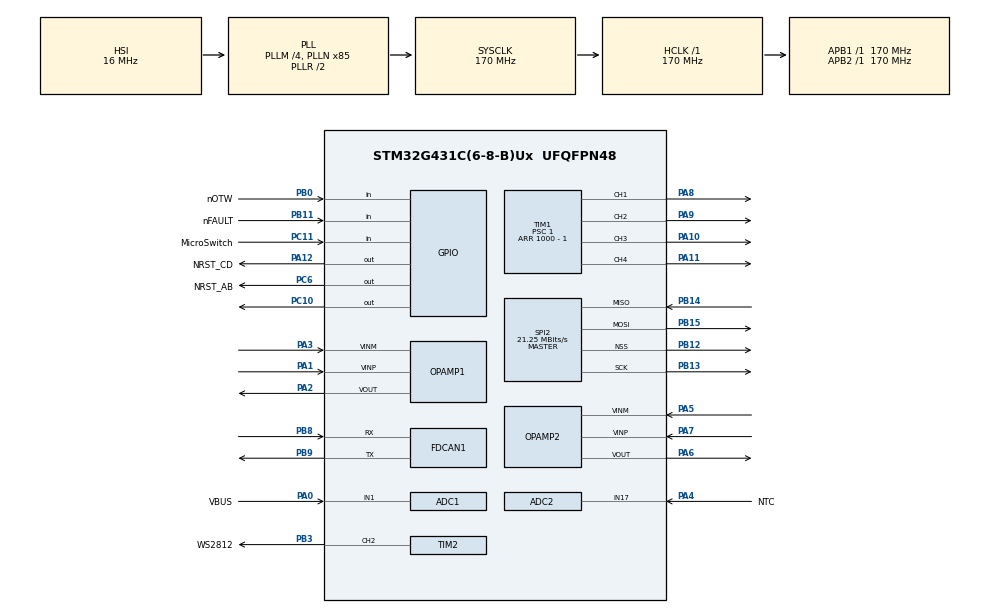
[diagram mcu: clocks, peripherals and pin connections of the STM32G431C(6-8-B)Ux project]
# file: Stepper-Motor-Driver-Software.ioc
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ADC1.Channel-0\#ChannelRegularConversion=ADC_CHANNEL_3
ADC1.Channel-4\#ChannelRegularConversion=ADC_CHANNEL_1
ADC1.DMAAccessModeView=ENABLE
ADC1.DMAContinuousRequests=ENABLE
ADC1.EOCSelection=ADC_EOC_SEQ_CONV
ADC1.ExternalTrigConv=ADC_EXTERNALTRIG_T1_TRGO
ADC1.Mode=ADC_DUALMODE_REGSIMULT
ADC1.NbrOfConversion=2
ADC1.NbrOfConversionFlag=1
ADC1.OffsetNumber-0\#ChannelRegularConversion=ADC_OFFSET_NONE
ADC1.OffsetNumber-4\#ChannelRegularConversion=ADC_OFFSET_NONE
ADC1.Overrun=ADC_OVR_DATA_OVERWRITTEN
ADC1.Rank-0\#ChannelRegularConversion=1
ADC1.Rank-4\#ChannelRegularConversion=2
ADC1.SamplingTime-0\#ChannelRegularConversion=ADC_SAMPLETIME_6CYCLES_5
ADC1.SamplingTime-4\#ChannelRegularConversion=ADC_SAMPLETIME_6CYCLES_5
ADC1.master=1
ADC2.Channel-0\#ChannelRegularConversion=ADC_CHANNEL_3
ADC2.Channel-2\#ChannelRegularConversion=ADC_CHANNEL_17
ADC2.DMAAccessModeView=ENABLE
ADC2.DMAContinuousRequests=DISABLE
ADC2.EOCSelection=ADC_EOC_SEQ_CONV
ADC2.Mode=ADC_DUALMODE_REGSIMULT
ADC2.NbrOfConversion=2
ADC2.NbrOfConversionFlag=1
ADC2.OffsetNumber-0\#ChannelRegularConversion=ADC_OFFSET_NONE
ADC2.OffsetNumber-2\#ChannelRegularConversion=ADC_OFFSET_NONE
ADC2.Overrun=ADC_OVR_DATA_OVERWRITTEN
ADC2.Rank-0\#ChannelRegularConversion=1
ADC2.Rank-2\#ChannelRegularConversion=2
ADC2.SamplingTime-0\#ChannelRegularConversion=ADC_SAMPLETIME_6CYCLES_5
ADC2.SamplingTime-2\#ChannelRegularConversion=ADC_SAMPLETIME_6CYCLES_5
Dma.ADC1.1.Direction=DMA_PERIPH_TO_MEMORY
Dma.ADC1.1.EventEnable=DISABLE
Dma.ADC1.1.Instance=DMA1_Channel2
Dma.ADC1.1.MemDataAlignment=DMA_MDATAALIGN_WORD
Dma.ADC1.1.MemInc=DMA_MINC_ENABLE
Dma.ADC1.1.Mode=DMA_CIRCULAR
Dma.ADC1.1.PeriphDataAlignment=DMA_PDATAALIGN_WORD
Dma.ADC1.1.PeriphInc=DMA_PINC_DISABLE
Dma.ADC1.1.Polarity=HAL_DMAMUX_REQ_GEN_RISING
Dma.ADC1.1.Priority=DMA_PRIORITY_VERY_HIGH
Dma.ADC1.1.RequestNumber=1
Dma.ADC1.1.SignalID=NONE
Dma.ADC1.1.SyncEnable=DISABLE
Dma.ADC1.1.SyncPolarity=HAL_DMAMUX_SYNC_NO_EVENT
Dma.ADC1.1.SyncRequestNumber=1
Dma.ADC1.1.SyncSignalID=NONE
Dma.Request0=TIM2_CH2
Dma.Request1=ADC1
Dma.TIM2_CH2.0.Direction=DMA_MEMORY_TO_PERIPH
Dma.TIM2_CH2.0.EventEnable=DISABLE
Dma.TIM2_CH2.0.Instance=DMA1_Channel1
Dma.TIM2_CH2.0.MemDataAlignment=DMA_MDATAALIGN_WORD
Dma.TIM2_CH2.0.MemInc=DMA_MINC_ENABLE
Dma.TIM2_CH2.0.Mode=DMA_NORMAL
Dma.TIM2_CH2.0.PeriphDataAlignment=DMA_PDATAALIGN_WORD
Dma.TIM2_CH2.0.PeriphInc=DMA_PINC_DISABLE
Dma.TIM2_CH2.0.Polarity=HAL_DMAMUX_REQ_GEN_RISING
Dma.TIM2_CH2.0.Priority=DMA_PRIORITY_LOW
Dma.TIM2_CH2.0.RequestNumber=1
Dma.TIM2_CH2.0.SignalID=NONE
Dma.TIM2_CH2.0.SyncEnable=DISABLE
Dma.TIM2_CH2.0.SyncPolarity=HAL_DMAMUX_SYNC_NO_EVENT
Dma.TIM2_CH2.0.SyncRequestNumber=1
Dma.TIM2_CH2.0.SyncSignalID=NONE
FDCAN1.AutoRetransmission=ENABLE
FDCAN1.CalculateBaudRateNominal=1000000
FDCAN1.CalculateTimeBitNominal=1000
FDCAN1.CalculateTimeQuantumNominal=100.0
FDCAN1.DataPrescaler=17
FDCAN1.DataTimeSeg2=6
FDCAN1.NominalPrescaler=17
FDCAN1.NominalTimeSeg1=6
FDCAN1.NominalTimeSeg2=3
FDCAN1.StdFiltersNbr=1
Mcu.Family=STM32G4
Mcu.Name=STM32G431C(6-8-B)Ux
Mcu.Package=UFQFPN48
NVIC.ADC1_2_IRQn=true\:0\:0\:false\:false\:true\:true\:true\:true
NVIC.DMA1_Channel1_IRQn=true\:0\:0\:false\:false\:true\:false\:true\:true
NVIC.DMA1_Channel2_IRQn=true\:0\:0\:false\:false\:true\:false\:true\:true
NVIC.FDCAN1_IT0_IRQn=true\:0\:0\:false\:false\:true\:true\:true\:true
NVIC.PriorityGroup=NVIC_PRIORITYGROUP_4
NVIC.SPI2_IRQn=true\:0\:0\:false\:false\:true\:true\:true\:true
NVIC.TIM1_UP_TIM16_IRQn=true\:0\:0\:false\:false\:true\:true\:true\:true
NVIC.TIM6_DAC_IRQn=true\:0\:0\:false\:false\:true\:true\:true\:true
PA0.GPIO_Label=VBUS
PA0.Mode=IN1-Single-Ended
PA0.Signal=ADC1_IN1
PA1.Mode=Standalone
PA1.Signal=OPAMP1_VINP
PA10.GPIO_Speed=GPIO_SPEED_FREQ_VERY_HIGH
PA10.Signal=S_TIM1_CH3
PA11.GPIO_Speed=GPIO_SPEED_FREQ_VERY_HIGH
PA11.Signal=S_TIM1_CH4
PA12.GPIO_Label=NRST_CD
PA12.Signal=GPIO_Output
PA13.Mode=Serial_Wire
PA13.Signal=SYS_JTMS-SWDIO
PA14.Mode=Serial_Wire
PA14.Signal=SYS_JTCK-SWCLK
PA2.Signal=SharedAnalog_PA2
PA3.Mode=Standalone
PA3.Signal=OPAMP1_VINM
PA4.GPIO_Label=NTC
PA4.Mode=IN17-Single-Ended
PA4.Signal=ADC2_IN17
PA5.Mode=Standalone
PA5.Signal=OPAMP2_VINM
PA6.Signal=SharedAnalog_PA6
PA7.Mode=Standalone
PA7.Signal=OPAMP2_VINP
PA8.GPIO_Speed=GPIO_SPEED_FREQ_VERY_HIGH
PA8.Signal=S_TIM1_CH1
PA9.GPIO_Speed=GPIO_SPEED_FREQ_VERY_HIGH
PA9.Signal=S_TIM1_CH2
PB0.GPIO_Label=nOTW
PB0.Signal=GPIO_Input
PB11.GPIO_Label=nFAULT
PB11.Signal=GPIO_Input
PB12.Mode=NSS_Signal_Hard_Output
PB12.Signal=SPI2_NSS
PB13.Mode=Full_Duplex_Master
PB13.Signal=SPI2_SCK
PB14.Mode=Full_Duplex_Master
PB14.Signal=SPI2_MISO
PB15.Mode=Full_Duplex_Master
PB15.Signal=SPI2_MOSI
PB3.GPIO_Label=WS2812
PB3.Signal=S_TIM2_CH2
PB8-BOOT0.Mode=FDCAN_Activate
PB8-BOOT0.Signal=FDCAN1_RX
PB9.Mode=FDCAN_Activate
PB9.Signal=FDCAN1_TX
PC10.GPIO_Speed=GPIO_SPEED_FREQ_VERY_HIGH
PC10.Signal=GPIO_Output
PC11.GPIO_Label=MicroSwitch
PC11.Signal=GPIO_Input
PC6.GPIO_Label=NRST_AB
PC6.Signal=GPIO_Output
PF0-OSC_IN.Mode=HSE-External-Oscillator
PF0-OSC_IN.Signal=RCC_OSC_IN
PF1-OSC_OUT.Mode=HSE-External-Oscillator
PF1-OSC_OUT.Signal=RCC_OSC_OUT
ProjectManager.HeapSize=0x200
ProjectManager.StackSize=0x400
ProjectManager.TargetToolchain=Makefile
RCC.ADC12Freq_Value=170000000
RCC.AHBFreq_Value=170000000
RCC.APB1Freq_Value=170000000
RCC.APB1TimFreq_Value=170000000
RCC.APB2Freq_Value=170000000
RCC.APB2TimFreq_Value=170000000
RCC.CortexFreq_Value=170000000
RCC.EXTERNAL_CLOCK_VALUE=12288000
RCC.HCLKFreq_Value=170000000
RCC.HSE_VALUE=8000000
RCC.HSI48_VALUE=48000000
RCC.HSI_VALUE=16000000
RCC.LSE_VALUE=32768
RCC.PLLM=RCC_PLLM_DIV4
RCC.PLLN=85
RCC.SYSCLKFreq_VALUE=170000000
RCC.SYSCLKSource=RCC_SYSCLKSOURCE_PLLCLK
RCC.USBFreq_Value=170000000
RCC.VCOOutputFreq_Value=340000000
SH.S_TIM1_CH1.0=TIM1_CH1,PWM Generation1 CH1
SH.S_TIM1_CH2.0=TIM1_CH2,PWM Generation2 CH2
SH.S_TIM1_CH3.0=TIM1_CH3,PWM Generation3 CH3
SH.S_TIM1_CH4.0=TIM1_CH4,PWM Generation4 CH4
SH.S_TIM2_CH2.0=TIM2_CH2,PWM Generation2 CH2
SH.SharedAnalog_PA2.0=OPAMP1_VOUT,Standalone
SH.SharedAnalog_PA2.1=ADC1_IN3,IN3-Single-Ended
SH.SharedAnalog_PA6.0=OPAMP2_VOUT,Standalone
SH.SharedAnalog_PA6.1=ADC2_IN3,IN3-Single-Ended
SPI2.BaudRatePrescaler=SPI_BAUDRATEPRESCALER_8
SPI2.CalculateBaudRate=21.25 MBits/s
SPI2.DataSize=SPI_DATASIZE_16BIT
SPI2.Direction=SPI_DIRECTION_2LINES
SPI2.Mode=SPI_MODE_MASTER
SPI2.VirtualNSS=VM_NSSHARD
SPI2.VirtualType=VM_MASTER
TIM1.Channel-PWM\ Generation1\ CH1=TIM_CHANNEL_1
TIM1.Channel-PWM\ Generation2\ CH2=TIM_CHANNEL_2
TIM1.Channel-PWM\ Generation3\ CH3=TIM_CHANNEL_3
TIM1.Channel-PWM\ Generation4\ CH4=TIM_CHANNEL_4
TIM1.CounterMode=TIM_COUNTERMODE_CENTERALIGNED1
TIM1.OCMode_PWM-PWM\ Generation1\ CH1=TIM_OCMODE_PWM1
TIM1.OCMode_PWM-PWM\ Generation2\ CH2=TIM_OCMODE_PWM1
TIM1.OCPolarity_1=TIM_OCPOLARITY_HIGH
TIM1.OCPolarity_2=TIM_OCPOLARITY_HIGH
TIM1.OCPolarity_3=TIM_OCPOLARITY_HIGH
TIM1.OCPolarity_4=TIM_OCPOLARITY_HIGH
TIM1.PeriodNoDither=1000 - 1
TIM1.Prescaler=1
TIM1.RepetitionCounter=0
TIM1.TIM_MasterOutputTrigger=TIM_TRGO_UPDATE
TIM1.TIM_MasterOutputTrigger2=TIM_TRGO2_RESET
TIM2.Channel-PWM\ Generation2\ CH2=TIM_CHANNEL_2
TIM2.PeriodNoDither=213-1
TIM2.PulseNoDither_2=100
TIM6.AutoReloadPreload=TIM_AUTORELOAD_PRELOAD_ENABLE
TIM6.PeriodNoDither=1000-1
TIM6.Prescaler=170-1
VP_CORDIC_VS_CORDIC.Mode=CORDIC_Activate
VP_SYS_VS_DBSignals.Mode=DisableDeadBatterySignals
VP_TIM1_VS_ClockSourceINT.Mode=Internal
VP_TIM2_VS_ClockSourceINT.Mode=Internal
VP_TIM6_VS_ClockSourceINT.Mode=Enable_Timer
board=custom

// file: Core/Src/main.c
/* USER CODE BEGIN Header */
/**
  ******************************************************************************
  * @file           : main.c
  * @brief          : Main program body
  ******************************************************************************
  * @attention
  *
  * Copyright (c) 2024 STMicroelectronics.
  * All rights reserved.
  *
  * This software is licensed under terms that can be found in the LICENSE file
  * in the root directory of this software component.
  * If no LICENSE file comes with this software, it is provided AS-IS.
  *
  ******************************************************************************
  */
/* USER CODE END Header */
#include "main.h"
#include "adc.h"
#include "cordic.h"
#include "dma.h"
#include "fdcan.h"
#include "opamp.h"
#include "spi.h"
#include "tim.h"
#include "gpio.h"

/* USER CODE BEGIN Includes */
#include "fdcan.h"
#include "math.h"
#include "stdint.h"

#include "tick.h"
#include "ws2812.h"
#include "FOC.h"
#include "MA732.h"
#include "PositionalPID.h"
#include "IncrementalPID.h"
#include "Calibrator.h"
#include "ErrorHandler.h"
#include "InterBoard.h"
#include "LightEffect.h"
/* USER CODE END Includes */

/* USER CODE BEGIN PV */
uint8_t r = 0, g = 0, b = 0;
uint8_t WS2812_brightness = 30;
uint8_t signal1KHz = 0, signal500Hz = 0;

/* USER CODE END PV */

void SystemClock_Config(void);

int main(void)
{

  /* MCU Configuration--------------------------------------------------------*/

  /* Reset of all peripherals, Initializes the Flash interface and the Systick. */
  HAL_Init();

  /* Configure the system clock */
  SystemClock_Config();

  /* Initialize all configured peripherals */
  MX_GPIO_Init();
  MX_DMA_Init();
  MX_FDCAN1_Init();
  MX_OPAMP1_Init();
  MX_OPAMP2_Init();
  MX_SPI2_Init();
  MX_TIM1_Init();
  MX_ADC2_Init();
  MX_TIM2_Init();
  MX_TIM6_Init();
  MX_ADC1_Init();
  MX_CORDIC_Init();
  /* USER CODE BEGIN 2 */
  // FLASH_OBProgramInitTypeDef pOBInit;
  // HAL_FLASHEx_OBGetConfig(&pOBInit);
  // if (!((pOBInit.USERConfig & FLASH_OPTR_nSWBOOT0_Msk) == OB_BOOT0_FROM_OB &&
  //       (pOBInit.USERConfig & FLASH_OPTR_nBOOT0_Msk) == OB_nBOOT0_SET &&
  //       (pOBInit.USERConfig & FLASH_OPTR_NRST_MODE_Msk) == OB_NRST_MODE_GPIO &&
  //       (pOBInit.USERConfig & FLASH_OPTR_BOR_LEV_Msk) == OB_BOR_LEVEL_4 &&
  //       (pOBInit.USERConfig & FLASH_OPTR_nRST_STOP_Msk) == OB_STOP_RST &&
  //       (pOBInit.USERConfig & FLASH_OPTR_nRST_STDBY_Msk) == OB_STANDBY_RST &&
  //       (pOBInit.USERConfig & FLASH_OPTR_nRST_SHDW_Msk) == OB_SHUTDOWN_RST
  // )) {
  //     __disable_irq();
  //     HAL_FLASH_Unlock();
  //     HAL_FLASH_OB_Unlock();

  //     pOBInit.OptionType = OPTIONBYTE_USER;
  //     pOBInit.USERType = 0;
  //     pOBInit.USERConfig = 0;

  //     pOBInit.USERType |= OB_USER_nSWBOOT0;
  //     pOBInit.USERConfig |= OB_BOOT0_FROM_OB;
  //     pOBInit.USERType |= OB_USER_nBOOT0;
  //     pOBInit.USERConfig |= OB_nBOOT0_SET;
  //     pOBInit.USERType |= OB_USER_NRST_MODE;
  //     pOBInit.USERConfig |= OB_NRST_MODE_GPIO;
  //     pOBInit.USERType |= OB_USER_BOR_LEV;
  //     pOBInit.USERConfig |= OB_BOR_LEVEL_4;
  //     pOBInit.USERType |= OB_USER_nRST_STOP;
  //     pOBInit.USERConfig |= OB_STOP_RST;
  //     pOBInit.USERType |= OB_USER_nRST_STDBY;
  //     pOBInit.USERConfig |= OB_STANDBY_RST;
  //     pOBInit.USERType |= OB_USER_nRST_SHDW;
  //     pOBInit.USERConfig |= OB_SHUTDOWN_RST;
  //     pOBInit.USERType |= OB_USER_IRHEN;
  //     pOBInit.USERConfig |= OB_IRH_ENABLE;
  //     HAL_FLASHEx_OBProgram(&pOBInit);
  //     HAL_FLASH_OB_Launch();
  //     HAL_FLASH_OB_Lock();
  //     HAL_FLASH_Lock();
  //     __enable_irq();
  // }
  /* USER CODE END 2 */

  /* Infinite loop */
  /* USER CODE BEGIN WHILE */
  motorControlStatus.initializing = 1;
  // WS2812 初始�?
  Tick_Init();
  ErrorHandlerInit();
  WS2812_Init();

  MA732_Init(&hspi2);

  MotorControlInit();
  InterBoardInit();

  // ADC 运放 初始�?
  HAL_OPAMP_Start(&hopamp1);
  HAL_OPAMP_Start(&hopamp2);

  HAL_ADCEx_Calibration_Start(&hadc1, ADC_SINGLE_ENDED);
  HAL_ADCEx_Calibration_Start(&hadc2, ADC_SINGLE_ENDED);

  HAL_ADC_Start(&hadc2);
  extern uint32_t adcBuffer[2];
  HAL_ADCEx_MultiModeStart_DMA(&hadc1, adcBuffer, 2);

  disableFOC();
  // 这样做的目的是修改TIM1 Update Event 的相�?
  HAL_TIM_Base_Start_IT(&htim1);
  htim1.Instance->RCR = 1;
  HAL_TIM_PWM_Start(&htim1, TIM_CHANNEL_1);
  HAL_TIM_PWM_Start(&htim1, TIM_CHANNEL_2);
  HAL_TIM_PWM_Start(&htim1, TIM_CHANNEL_3);
  HAL_TIM_PWM_Start(&htim1, TIM_CHANNEL_4);

  HAL_GPIO_WritePin(NRST_AB_GPIO_Port, NRST_AB_Pin, GPIO_PIN_SET);
  HAL_GPIO_WritePin(NRST_CD_GPIO_Port, NRST_CD_Pin, GPIO_PIN_SET);

  HAL_Delay(50);
  #if (CAN_ID == 2)
  HAL_Delay(600);
  #endif
  #if (CAN_ID == 3)
  HAL_Delay(1200);
  #endif
  alineMotor();
  // calibrateCurrentSensor();
  // Never reach here
  #if (CALIBRATE_ENCODER == 1)
  calibrateEncoder();
  // Never reach here
  #endif

  resetAndEnableFOC();
  motorControlStatus.initializing = 0;
  while (1)
  {
    /* USER CODE END WHILE */

    /* USER CODE BEGIN 3 */
    if(motorControlStatus.triggerReset)
    {
      // 尝试手动触发复位, 清除故障标志
      motorControlStatus.triggerReset = 0;
      resetAndEnableFOC();
      ErrorHandlerClearErrorStatus();
    }

    if(ErrorHandlerCheckIfAnyError())
    {
      lightEffect_UniColor(255, 25, 25);
    }
    else
    {
      /*r = sin(vTick / 1000.0) * WS2812_brightness + WS2812_brightness;
      g = sin(vTick / 1000.0 + 2 * 3.14159 / 3) * WS2812_brightness + WS2812_brightness;
      b = sin(vTick / 1000.0 + 4 * 3.14159 / 3) * WS2812_brightness + WS2812_brightness;
      for(int i = 0; i < 8; i++)
      {
        blink(i, r, g, b);
      }   */
      lightEffect_Angle(1, 255, 60, 60, 60);
      lightEffect_Rainbow(1000, 255);

    }

    #if (CAN_ID == 3)
    // motorStalled 复用为 MicroSwitch 是否被触发
    motorErrorStatus.motorStalled = 1 - HAL_GPIO_ReadPin(MicroSwitch_GPIO_Port, MicroSwitch_Pin);
    #endif

    signal500Hz += 1;
    if(signal500Hz == 2)
    {
      InterBoardTransmitFeedback();
      signal500Hz = 0;
    }

    // 保证 1KHz 的控制周期
    while(signal1KHz == 0);
    signal1KHz = 0;
  }
  /* USER CODE END 3 */
}

void SystemClock_Config(void)
{
  RCC_OscInitTypeDef RCC_OscInitStruct = {0};
  RCC_ClkInitTypeDef RCC_ClkInitStruct = {0};

  /** Configure the main internal regulator output voltage
  */
  HAL_PWREx_ControlVoltageScaling(PWR_REGULATOR_VOLTAGE_SCALE1_BOOST);

  /** Initializes the RCC Oscillators according to the specified parameters
  * in the RCC_OscInitTypeDef structure.
  */
  RCC_OscInitStruct.OscillatorType = RCC_OSCILLATORTYPE_HSI;
  RCC_OscInitStruct.HSIState = RCC_HSI_ON;
  RCC_OscInitStruct.HSICalibrationValue = RCC_HSICALIBRATION_DEFAULT;
  RCC_OscInitStruct.PLL.PLLState = RCC_PLL_ON;
  RCC_OscInitStruct.PLL.PLLSource = RCC_PLLSOURCE_HSI;
  RCC_OscInitStruct.PLL.PLLM = RCC_PLLM_DIV4;
  RCC_OscInitStruct.PLL.PLLN = 85;
  RCC_OscInitStruct.PLL.PLLP = RCC_PLLP_DIV2;
  RCC_OscInitStruct.PLL.PLLQ = RCC_PLLQ_DIV2;
  RCC_OscInitStruct.PLL.PLLR = RCC_PLLR_DIV2;
  if (HAL_RCC_OscConfig(&RCC_OscInitStruct) != HAL_OK)
  {
    Error_Handler();
  }

  /** Initializes the CPU, AHB and APB buses clocks
  */
  RCC_ClkInitStruct.ClockType = RCC_CLOCKTYPE_HCLK|RCC_CLOCKTYPE_SYSCLK
                              |RCC_CLOCKTYPE_PCLK1|RCC_CLOCKTYPE_PCLK2;
  RCC_ClkInitStruct.SYSCLKSource = RCC_SYSCLKSOURCE_PLLCLK;
  RCC_ClkInitStruct.AHBCLKDivider = RCC_SYSCLK_DIV1;
  RCC_ClkInitStruct.APB1CLKDivider = RCC_HCLK_DIV1;
  RCC_ClkInitStruct.APB2CLKDivider = RCC_HCLK_DIV1;

  if (HAL_RCC_ClockConfig(&RCC_ClkInitStruct, FLASH_LATENCY_4) != HAL_OK)
  {
    Error_Handler();
  }
}

void Error_Handler(void)
{
  __disable_irq();
  while (1)
  {
  }
}
